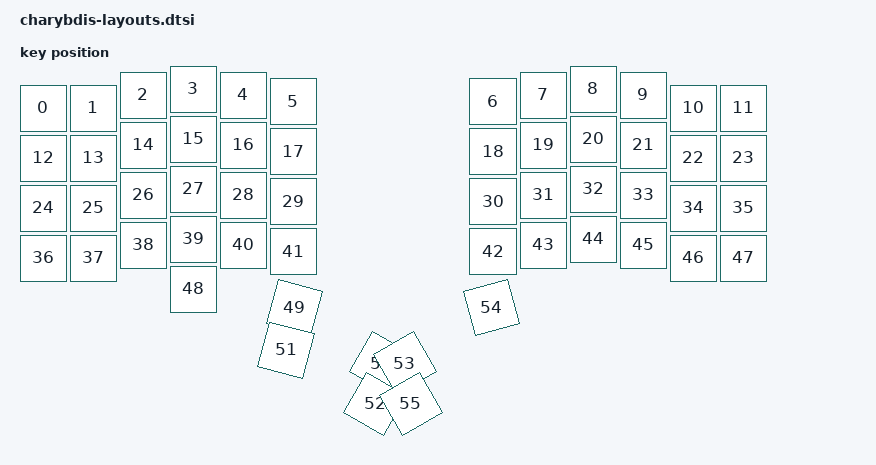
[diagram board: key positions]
#include <physical_layouts.dtsi>

/ {
    physical_layout0: physical_layout_0 {
        compatible = "zmk,physical-layout";
        display-name = "Default Layout";
        kscan = <&kscan0>;
        transform = <&default_transform>;

        keys  //                     w   h    x    y     rot    rx    ry
            // ── Number row (electrical row 4, sits above main grid) ──
            = <&key_physical_attrs 100 100    0  (-62)     0     0     0>
            , <&key_physical_attrs 100 100  100  (-62)     0     0     0>
            , <&key_physical_attrs 100 100  200  (-88)     0     0     0>
            , <&key_physical_attrs 100 100  300 (-100)     0     0     0>
            , <&key_physical_attrs 100 100  400  (-88)     0     0     0>
            , <&key_physical_attrs 100 100  500  (-75)     0     0     0>
            , <&key_physical_attrs 100 100  900  (-75)     0     0     0>
            , <&key_physical_attrs 100 100 1000  (-88)     0     0     0>
            , <&key_physical_attrs 100 100 1100 (-100)     0     0     0>
            , <&key_physical_attrs 100 100 1200  (-88)     0     0     0>
            , <&key_physical_attrs 100 100 1300  (-62)     0     0     0>
            , <&key_physical_attrs 100 100 1400  (-62)     0     0     0>
            // ── TAB row (electrical row 0) ──
            , <&key_physical_attrs 100 100    0   38       0     0     0>
            , <&key_physical_attrs 100 100  100   38       0     0     0>
            , <&key_physical_attrs 100 100  200   12       0     0     0>
            , <&key_physical_attrs 100 100  300    0       0     0     0>
            , <&key_physical_attrs 100 100  400   12       0     0     0>
            , <&key_physical_attrs 100 100  500   25       0     0     0>
            , <&key_physical_attrs 100 100  900   25       0     0     0>
            , <&key_physical_attrs 100 100 1000   12       0     0     0>
            , <&key_physical_attrs 100 100 1100    0       0     0     0>
            , <&key_physical_attrs 100 100 1200   12       0     0     0>
            , <&key_physical_attrs 100 100 1300   38       0     0     0>
            , <&key_physical_attrs 100 100 1400   38       0     0     0>
            // ── ESC row (electrical row 1) ──
            , <&key_physical_attrs 100 100    0  138       0     0     0>
            , <&key_physical_attrs 100 100  100  138       0     0     0>
            , <&key_physical_attrs 100 100  200  112       0     0     0>
            , <&key_physical_attrs 100 100  300  100       0     0     0>
            , <&key_physical_attrs 100 100  400  112       0     0     0>
            , <&key_physical_attrs 100 100  500  125       0     0     0>
            , <&key_physical_attrs 100 100  900  125       0     0     0>
            , <&key_physical_attrs 100 100 1000  112       0     0     0>
            , <&key_physical_attrs 100 100 1100  100       0     0     0>
            , <&key_physical_attrs 100 100 1200  112       0     0     0>
            , <&key_physical_attrs 100 100 1300  138       0     0     0>
            , <&key_physical_attrs 100 100 1400  138       0     0     0>
            // ── LGUI/Z row (electrical row 2) ──
            , <&key_physical_attrs 100 100    0  238       0     0     0>
            , <&key_physical_attrs 100 100  100  238       0     0     0>
            , <&key_physical_attrs 100 100  200  212       0     0     0>
            , <&key_physical_attrs 100 100  300  200       0     0     0>
            , <&key_physical_attrs 100 100  400  212       0     0     0>
            , <&key_physical_attrs 100 100  500  225       0     0     0>
            , <&key_physical_attrs 100 100  900  225       0     0     0>
            , <&key_physical_attrs 100 100 1000  212       0     0     0>
            , <&key_physical_attrs 100 100 1100  200       0     0     0>
            , <&key_physical_attrs 100 100 1200  212       0     0     0>
            , <&key_physical_attrs 100 100 1300  238       0     0     0>
            , <&key_physical_attrs 100 100 1400  238       0     0     0>
            // ── Thumb cluster (electrical row 3, outer row long: 5L / 3R) ──
            //    Left outer (3): T1 T2 T3
            , <&key_physical_attrs 100 100  300  300       0     0     0>
            , <&key_physical_attrs 100 100  400  310    1500   398   764>
            , <&key_physical_attrs 100 100  500  320    3000   398   764>
            //    Left inner (2): T4 T5
            , <&key_physical_attrs 100 100  380  400    1500   398   864>
            , <&key_physical_attrs 100 100  480  410    3000   398   864>
            //    Right outer (2): T6 T7
            , <&key_physical_attrs 100 100  900  320 (-3000)  1102   764>
            , <&key_physical_attrs 100 100 1000  310 (-1500)  1102   764>
            //    Right inner (1): T8
            , <&key_physical_attrs 100 100  920  410 (-3000)  1102   864>
            ;
    };
};
